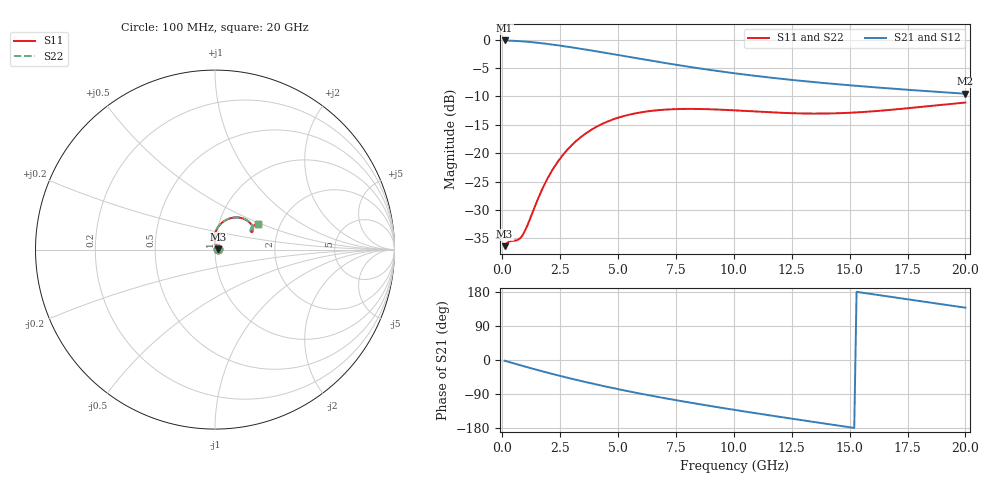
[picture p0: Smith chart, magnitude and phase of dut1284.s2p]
! Touchstone file exported from HFSS 2024.1.0
!  File:  C:/UserFiles/LocalFiles/RDL_TSV_Batchsim/temp_RDL_TSV_1284_1780278085.aedt
!  Generated:  09:58:26 AM Jun  1, 2026
!  Design:  RDL_TSV
!  Project:  temp_RDL_TSV_1284_1780278085
!  Setup:  Setup1
!  Solution:  Sweep
! Variables:
!  dtsv = 6.9um
!  hbump = 3um
!  htsv = 79.38um
!  ldown = 195.13um
!  lrdl = 667.79um
!  p = 40
!  p1 = 49.14um
!  rhole = 10um
!  subl = 3256.55um
!  t = 450um
!  tdown = 3.3um
!  trdl = 3.62um
!  viad = 10um
!  wdown = 14.73um
!  wrdl = 28.68um
!  xbump = 18um
# GHz S MA R 50.000000
! Terminal data exported
! Port[1] = TM1_1_T1
! Port[2] = TM1_4_T1
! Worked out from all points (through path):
!   200 points, 100 MHz to 20 GHz, reference 50 ohm
!   highest |S21| = -0.13 dB at 100 MHz (marker M1); lowest = -9.5 dB at 20 GHz (marker M2)
!   group delay of S21, straight-line fit = 29.3 ps
!   lowest |S11| = -36.4 dB at 100 MHz (marker M3), VSWR 1.03, Z = 51.5 + j0.263 ohm
!   |S11| at or under -10 dB: start of sweep to end of sweep
!   |S22| runs from -36.4 to -11.0 dB; largest |S21 - S12| = 1.9e-14
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0.1  0.0152 9.7  0.9847 -1.9  0.9847 -1.9  0.0152 9.7
! Gamma 0 0 0 0
! Port Impedance 50 0 50 0
0.3  0.01673 20.3  0.9814 -5.5  0.9814 -5.5  0.01672 20.3
0.6  0.01706 37.3  0.9748 -10.7  0.9748 -10.7  0.01702 37.4
0.8  0.01811 52.9  0.9692 -14.2  0.9692 -14.2  0.01809 53.1
1  0.02118 68.3  0.9624 -17.7  0.9624 -17.7  0.02118 68.5
1.7  0.04703 92.0  0.9312 -29.4  0.9312 -29.4  0.04711 92.1
2.2  0.0732 92.0  0.904 -37.4  0.904 -37.4  0.07333 92.0
2.8  0.1068 86.5  0.8684 -46.6  0.8684 -46.6  0.107 86.6
3.5  0.1443 78.0  0.8251 -56.8  0.8251 -56.8  0.1446 78.1
4.2  0.1767 69.3  0.7815 -66.4  0.7815 -66.4  0.177 69.3
4.9  0.2025 61.1  0.739 -75.6  0.739 -75.6  0.2028 61.2
5.8  0.2257 51.8  0.6871 -86.8  0.6871 -86.8  0.2262 51.8
6.8  0.2403 43.2  0.6346 -98.4  0.6346 -98.4  0.2407 43.2
7.6  0.2451 37.6  0.597 -107.1  0.597 -107.1  0.2456 37.6
8.4  0.2456 33.1  0.5634 -115.5  0.5634 -115.5  0.2461 33.2
10.1  0.2383 27.1  0.5041 -132.3  0.5041 -132.3  0.2387 27.2
11.7  0.2288 25.3  0.4607 -147.4  0.4607 -147.4  0.2291 25.4
13.4  0.2236 26.5  0.4244 -163.0  0.4244 -163.0  0.2239 26.5
15  0.2272 28.9  0.3969 -177.5  0.3969 -177.5  0.2275 29.0
16.7  0.2404 31.1  0.3725 167.3  0.3725 167.3  0.2408 31.2
18.4  0.2599 31.7  0.3517 152.2  0.3517 152.2  0.2604 31.9
20  0.2797 30.7  0.3345 138.1  0.3345 138.1  0.2804 30.9
